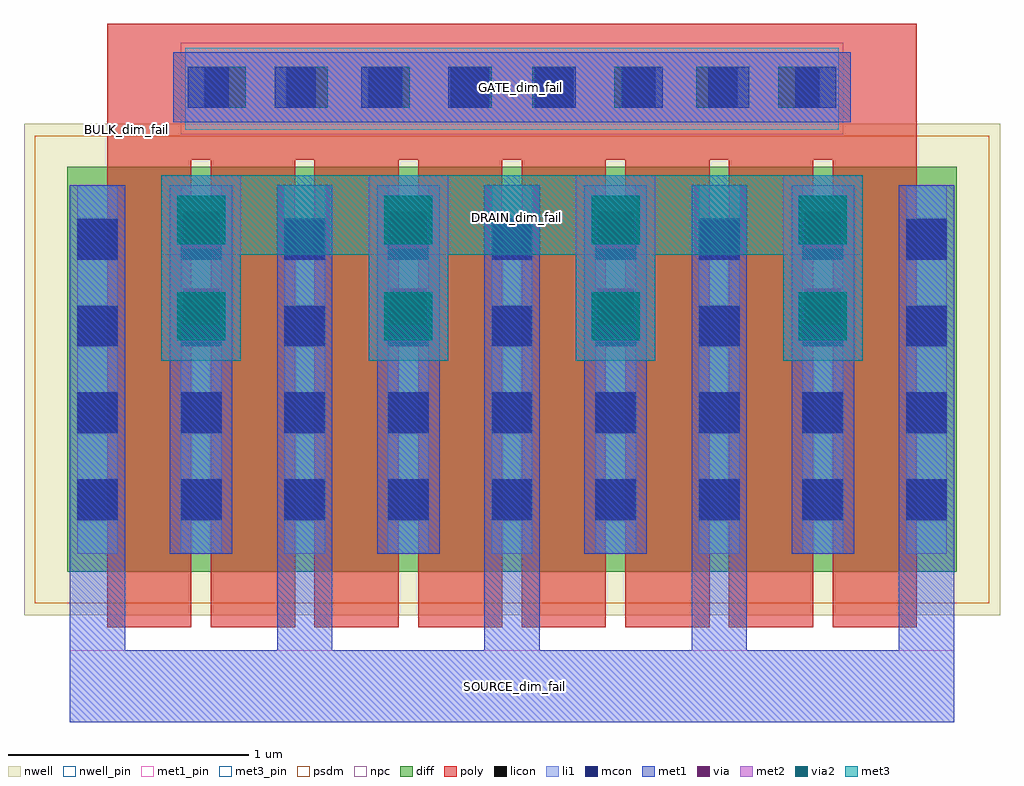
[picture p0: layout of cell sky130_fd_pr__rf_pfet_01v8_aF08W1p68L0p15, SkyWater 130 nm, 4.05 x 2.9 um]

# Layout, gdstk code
import gdstk
lib = gdstk.Library(unit=1e-6, precision=1e-09)
def R(c, l, rs):  # rectangles x0, y0, x1, y1
    for r in rs: c.add(gdstk.rectangle(r[:2], r[2:], *l))
def A(c, l, x, y, w, h, nx, ny, dx, dy):  # array of equal rectangles
    R(c, l, [(x+i*dx, y+j*dy, x+i*dx+w, y+j*dy+h) for i in range(nx) for j in range(ny)])
def P(c, l, *ps):  # polygons
    for p in ps: c.add(gdstk.Polygon(p, *l))
nwell_pin = (64, 16)
nwell = (64, 20)
diff = (65, 20)
poly = (66, 20)
licon = (66, 44)
li1 = (67, 20)
mcon = (67, 44)
met1_pin = (68, 16)
met1 = (68, 20)
via = (68, 44)
met2 = (69, 20)
via2 = (69, 44)
met3_pin = (70, 16)
met3 = (70, 20)
psdm = (94, 20)
npc = (95, 20)

sky130_fd_pr__rf_pfet_01 = lib.new_cell('sky130_fd_pr__rf_pfet_01v8_aF08W1p68L0p15')
R(sky130_fd_pr__rf_pfet_01, nwell_pin, [(0.415,2,0.43,2.025)])
R(sky130_fd_pr__rf_pfet_01, nwell, [(0,0,4.05,2.04)])
A(sky130_fd_pr__rf_pfet_01, diff, 0.445, 0.18, 0.15, 1.68, 8, 1, 0.43, 0)
A(sky130_fd_pr__rf_pfet_01, diff, 1.025, 0.18, 0.28, 1.68, 3, 1, 0.43, 0)
A(sky130_fd_pr__rf_pfet_01, diff, 1.055, 0.18, 0.25, 1.68, 3, 1, 0.86, 0)
A(sky130_fd_pr__rf_pfet_01, diff, 1.885, 0.18, 0.28, 1.68, 3, 1, 0.43, 0)
R(sky130_fd_pr__rf_pfet_01, diff, [(0.18,0.18,0.445,1.86), (0.21,0.18,0.445,1.86), (0.595,0.18,0.875,1.86), (1.025,0.18,1.305,1.86), (2.745,0.18,3.025,1.86), (3.175,0.18,3.455,1.86), (3.605,0.18,3.84,1.86), (3.605,0.18,3.87,1.86), (3.605,0.18,3.87,1.86), (3.635,0.18,3.87,1.86)])
P(sky130_fd_pr__rf_pfet_01, poly, [(0.345,-0.05),(0.345,2.455),(3.705,2.455),(3.705,-0.05),(3.355,-0.05),(3.355,1.89),(3.275,1.89),(3.275,-0.05),(2.925,-0.05),(2.925,1.89),(2.845,1.89),(2.845,-0.05),(2.495,-0.05),(2.495,1.89),(2.415,1.89),(2.415,-0.05),(2.065,-0.05),(2.065,1.89),(1.985,1.89),(1.985,-0.05),(1.635,-0.05),(1.635,1.89),(1.555,1.89),(1.555,-0.05),(1.205,-0.05),(1.205,1.89),(1.125,1.89),(1.125,-0.05),(0.775,-0.05),(0.775,1.89),(0.695,1.89),(0.695,-0.05)])
A(sky130_fd_pr__rf_pfet_01, licon, 0.22, 0.395, 0.17, 0.17, 9, 4, 0.43, 0.36)
A(sky130_fd_pr__rf_pfet_01, licon, 0.75, 2.105, 0.17, 0.17, 8, 1, 0.34, 0)
A(sky130_fd_pr__rf_pfet_01, li1, 0.22, 0.255, 0.17, 1.53, 9, 1, 0.43, 0)
R(sky130_fd_pr__rf_pfet_01, li1, [(0.67,2.015,3.38,2.355), (0.68,2.105,3.37,2.275)])
A(sky130_fd_pr__rf_pfet_01, mcon, 0.22, 0.395, 0.17, 0.17, 9, 4, 0.43, 0.36)
A(sky130_fd_pr__rf_pfet_01, mcon, 0.68, 2.105, 0.17, 0.17, 8, 1, 0.36, 0)
R(sky130_fd_pr__rf_pfet_01, met1_pin, [(0.19,-0.445,3.86,-0.145), (0.62,2.045,3.43,2.335)])
R(sky130_fd_pr__rf_pfet_01, met1, [(0.62,2.045,3.43,2.335)])
A(sky130_fd_pr__rf_pfet_01, via, 0.66, 1.205, 0.15, 0.15, 4, 2, 0.86, 0.32)
A(sky130_fd_pr__rf_pfet_01, met2, 0.57, 1.055, 0.33, 0.77, 4, 1, 0.86, 0)
A(sky130_fd_pr__rf_pfet_01, met2, 0.605, 1.12, 0.26, 0.64, 4, 1, 0.86, 0)
A(sky130_fd_pr__rf_pfet_01, via2, 0.635, 1.14, 0.2, 0.2, 4, 2, 0.86, 0.4)
R(sky130_fd_pr__rf_pfet_01, met3_pin, [(0.57,1.495,3.48,1.825)])
A(sky130_fd_pr__rf_pfet_01, met3, 0.57, 1.055, 0.33, 0.77, 4, 1, 0.86, 0)
A(sky130_fd_pr__rf_pfet_01, psdm, 0.465, 0.05, 0.54, 1.94, 7, 1, 0.43, 0)
A(sky130_fd_pr__rf_pfet_01, psdm, 0.625, 0.05, 0.4, 1.94, 6, 1, 0.43, 0)
R(sky130_fd_pr__rf_pfet_01, psdm, [(0.045,0.05,0.575,1.99), (0.21,0.05,0.595,1.99), (3.205,0.05,3.84,1.99), (3.475,0.05,4.005,1.99)])
R(sky130_fd_pr__rf_pfet_01, npc, [(0.65,1.995,3.4,2.375)])
sky130_fd_pr__rf_pfet_01.add(gdstk.FlexPath([(0.57,1.66),(3.48,1.66)], 0.33, ends="flush", simple_path=True, layer=70, datatype=20))  # met3
sky130_fd_pr__rf_pfet_01.add(gdstk.FlexPath([(2.885,1.785),(2.885,-0.445)], 0.23, ends="flush", simple_path=True, layer=68, datatype=20))  # met1
sky130_fd_pr__rf_pfet_01.add(gdstk.FlexPath([(3.745,1.785),(3.745,-0.445)], 0.23, ends="flush", simple_path=True, layer=68, datatype=20))  # met1
sky130_fd_pr__rf_pfet_01.add(gdstk.FlexPath([(2.025,1.785),(2.025,-0.445)], 0.23, ends="flush", simple_path=True, layer=68, datatype=20))  # met1
sky130_fd_pr__rf_pfet_01.add(gdstk.FlexPath([(0.19,-0.295),(3.86,-0.295)], 0.3, ends="flush", simple_path=True, layer=68, datatype=20))  # met1
sky130_fd_pr__rf_pfet_01.add(gdstk.FlexPath([(1.165,1.785),(1.165,-0.445)], 0.23, ends="flush", simple_path=True, layer=68, datatype=20))  # met1
sky130_fd_pr__rf_pfet_01.add(gdstk.FlexPath([(3.315,1.785),(3.315,0.255)], 0.26, ends="flush", simple_path=True, layer=68, datatype=20))  # met1
sky130_fd_pr__rf_pfet_01.add(gdstk.FlexPath([(2.455,1.785),(2.455,0.255)], 0.26, ends="flush", simple_path=True, layer=68, datatype=20))  # met1
sky130_fd_pr__rf_pfet_01.add(gdstk.FlexPath([(1.595,1.785),(1.595,0.255)], 0.26, ends="flush", simple_path=True, layer=68, datatype=20))  # met1
sky130_fd_pr__rf_pfet_01.add(gdstk.FlexPath([(0.735,1.785),(0.735,0.255)], 0.26, ends="flush", simple_path=True, layer=68, datatype=20))  # met1
sky130_fd_pr__rf_pfet_01.add(gdstk.FlexPath([(0.305,1.785),(0.305,-0.445)], 0.23, ends="flush", simple_path=True, layer=68, datatype=20))  # met1
sky130_fd_pr__rf_pfet_01.add(gdstk.Label('DRAIN_dim_fail', (2.045,1.65), layer=70, texttype=16))
sky130_fd_pr__rf_pfet_01.add(gdstk.Label('GATE_dim_fail', (2.06,2.19), layer=68, texttype=16))
sky130_fd_pr__rf_pfet_01.add(gdstk.Label('SOURCE_dim_fail', (2.035,-0.295), layer=68, texttype=16))
sky130_fd_pr__rf_pfet_01.add(gdstk.Label('BULK_dim_fail', (0.425,2.015), layer=64, texttype=5))

lib.write_gds('sky130_fd_pr__rf_pfet_01v8_aF08W1p68L0p15.gds')
